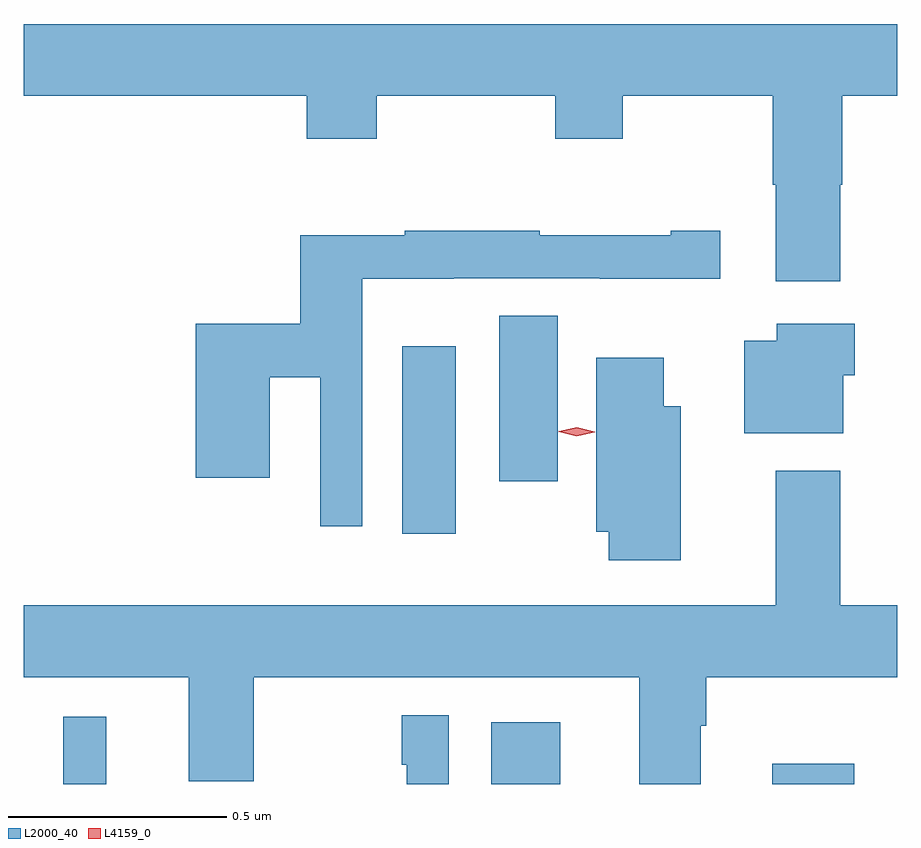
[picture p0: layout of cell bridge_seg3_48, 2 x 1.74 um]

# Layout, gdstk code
import gdstk
lib = gdstk.Library(unit=1e-6, precision=1e-09)
def R(c, l, rs):  # rectangles x0, y0, x1, y1
    for r in rs: c.add(gdstk.rectangle(r[:2], r[2:], *l))
def P(c, l, *ps):  # polygons
    for p in ps: c.add(gdstk.Polygon(p, *l))
L2000_40 = (2000, 40)
L4159_0 = (4159, 0)

bridge_seg3_48 = lib.new_cell('bridge_seg3_48')
R(bridge_seg3_48, L2000_40, [(988.871,702.003,988.97,702.157), (989.852,702.003,990.01,702.145), (990.495,702.003,990.683,702.049), (989.648,702.576,989.77,703.006), (989.87,702.696,990.004,703.076)])
P(bridge_seg3_48, L2000_40, [(990.651,703.376),(990.656,703.376),(990.656,703.58),(990.781,703.58),(990.781,703.744),(988.781,703.744),(988.781,703.58),(989.429,703.58),(989.429,703.481),(989.589,703.481),(989.589,703.58),(989.998,703.58),(989.998,703.481),(990.153,703.481),(990.153,703.58),(990.496,703.58),(990.496,703.376),(990.503,703.376),(990.503,703.155),(990.651,703.155)],
  [(989.556,703.16),(989.766,703.16),(989.766,703.161),(990.1,703.161),(990.1,703.16),(990.376,703.16),(990.376,703.27),(990.263,703.27),(990.263,703.26),(989.963,703.26),(989.963,703.27),(989.653,703.27),(989.653,703.26),(989.414,703.26),(989.414,703.057),(989.174,703.057),(989.174,702.705),(989.344,702.705),(989.344,702.935),(989.46,702.935),(989.46,702.594),(989.556,702.594)],
  [(990.658,702.939),(990.684,702.939),(990.684,703.057),(990.506,703.057),(990.506,703.018),(990.431,703.018),(990.431,702.806),(990.658,702.806)],
  [(990.286,702.868),(990.247,702.868),(990.247,702.979),(990.092,702.979),(990.092,702.581),(990.121,702.581),(990.121,702.516),(990.286,702.516)],
  [(990.331,702.136),(990.344,702.136),(990.344,702.248),(990.781,702.248),(990.781,702.412),(990.651,702.412),(990.651,702.721),(990.503,702.721),(990.503,702.412),(988.781,702.412),(988.781,702.248),(989.159,702.248),(989.159,702.009),(989.307,702.009),(989.307,702.248),(990.191,702.248),(990.191,702.003),(990.331,702.003)],
  [(989.754,702.16),(989.646,702.16),(989.646,702.047),(989.658,702.047),(989.658,702.003),(989.754,702.003)])
P(bridge_seg3_48, L4159_0, [(990.047,702.8),(990.006,702.81),(990.006,702.811),(990.006,702.811),(990.047,702.82),(990.088,702.81),(990.088,702.81),(990.088,702.809)])

lib.write_gds('bridge_seg3_48.gds')
